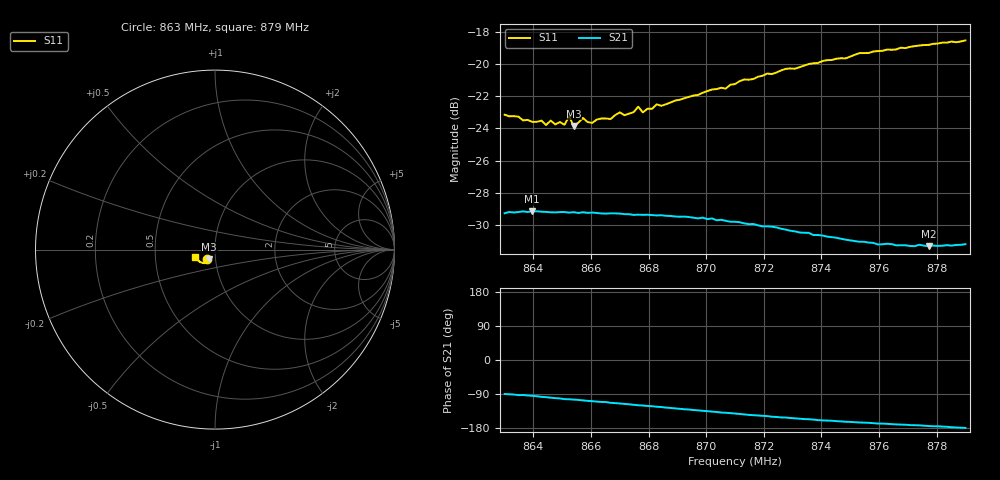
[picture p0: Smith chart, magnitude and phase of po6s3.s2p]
# HZ S RI R 50
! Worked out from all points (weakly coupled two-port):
!   101 points, 863 MHz to 879 MHz, reference 50 ohm
!   highest |S21| = -29.12 dB at 863.96 MHz (marker M1); lowest = -31.3 dB at 877.72 MHz (marker M2)
!   lowest |S11| = -23.8 dB at 865.4 MHz (marker M3), VSWR 1.14, Z = 46.5 - j5.14 ohm
!   |S11| at or under -10 dB: start of sweep to end of sweep
!   S12 and S22 are empty: the file has one direction only
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8.63e8  -0.0461 -0.0522  0.000188 -0.0345  0 0  0 0
8.6396e8  -0.0398 -0.0528  -0.00276 -0.0349  0 0  0 0
8.6428e8  -0.0384 -0.0546  -0.00439 -0.0346  0 0  0 0
8.6444e8  -0.0379 -0.0524  -0.00487 -0.0345  0 0  0 0
8.646e8  -0.0385 -0.0545  -0.00573 -0.0343  0 0  0 0
8.6508e8  -0.0358 -0.0541  -0.008 -0.0339  0 0  0 0
8.6524e8  -0.0411 -0.0551  -0.00817 -0.0337  0 0  0 0
8.654e8  -0.0331 -0.055  -0.00869 -0.0336  0 0  0 0
8.6572e8  -0.0364 -0.0574  -0.00991 -0.0333  0 0  0 0
8.6604e8  -0.0324 -0.0571  -0.0111 -0.0328  0 0  0 0
8.6668e8  -0.0328 -0.059  -0.0135 -0.0317  0 0  0 0
8.67e8  -0.0372 -0.0602  -0.0144 -0.0312  0 0  0 0
8.6748e8  -0.0347 -0.0618  -0.0161 -0.03  0 0  0 0
8.6764e8  -0.0376 -0.0634  -0.0168 -0.0297  0 0  0 0
8.678e8  -0.0346 -0.0618  -0.0171 -0.0295  0 0  0 0
8.6828e8  -0.0351 -0.0662  -0.0186 -0.0284  0 0  0 0
8.6844e8  -0.036 -0.0648  -0.0191 -0.0281  0 0  0 0
8.71e8  -0.0467 -0.0729  -0.0253 -0.0203  0 0  0 0
8.7372e8  -0.0669 -0.0749  -0.0272 -0.0114  0 0  0 0
8.7644e8  -0.0906 -0.0634  -0.0272 -0.00513  0 0  0 0
8.7772e8  -0.1012 -0.0536  -0.0271 -0.00273  0 0  0 0
8.79e8  -0.1112 -0.04  -0.0277 -0.000358  0 0  0 0
